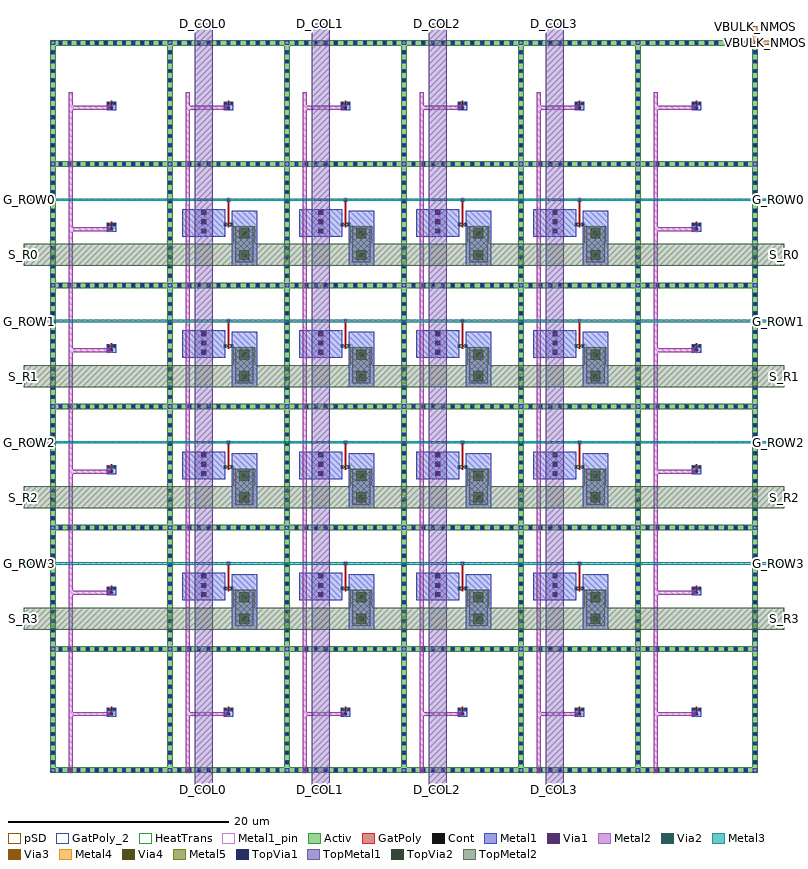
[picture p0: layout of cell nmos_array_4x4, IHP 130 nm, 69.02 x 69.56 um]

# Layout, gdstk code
import gdstk
lib = gdstk.Library(unit=1e-6, precision=1e-09)
def R(c, l, rs):  # rectangles x0, y0, x1, y1
    for r in rs: c.add(gdstk.rectangle(r[:2], r[2:], *l))
def A(c, l, x, y, w, h, nx, ny, dx, dy):  # array of equal rectangles
    R(c, l, [(x+i*dx, y+j*dy, x+i*dx+w, y+j*dy+h) for i in range(nx) for j in range(ny)])
Activ = (1, 0)
GatPoly = (5, 0)
GatPoly_2 = (5, 2)
Cont = (6, 0)
Metal1 = (8, 0)
Metal1_pin = (8, 2)
Metal2 = (10, 0)
pSD = (14, 0)
Via1 = (19, 0)
Via2 = (29, 0)
Metal3 = (30, 0)
Via3 = (49, 0)
Metal4 = (50, 0)
HeatTrans = (51, 0)
Via4 = (66, 0)
Metal5 = (67, 0)
TopVia1 = (125, 0)
TopMetal1 = (126, 0)
TopVia2 = (133, 0)
TopMetal2 = (134, 0)

nmos = lib.new_cell('nmos')
R(nmos, Activ, [(0,0,0.3,0.3), (0.57,0,0.87,0.3), (0,0.075,0.87,0.225)])
R(nmos, GatPoly, [(0.37,-0.105,0.5,0.405)])
R(nmos, GatPoly_2, [(0.37,-0.105,0.5,0.405)])
R(nmos, Cont, [(0.07,0.07,0.23,0.23), (0.64,0.07,0.8,0.23)])
R(nmos, Metal1, [(0.07,0.02,0.23,0.28), (0.64,0.02,0.8,0.28)])
R(nmos, Metal1_pin, [(0.07,0.02,0.23,0.28), (0.64,0.02,0.8,0.28)])
R(nmos, HeatTrans, [(0.37,-0.105,0.5,0.405)])
nmos.add(gdstk.Label('nmos', (0.435,0.15), layer=63, texttype=0))
nmos.add(gdstk.Label('nmos', (0.435,0.15), layer=51, texttype=0))

nmos_array_4x4 = lib.new_cell('nmos_array_4x4')
A(nmos_array_4x4, Activ, 0, 0, 0.5, 66.56, 7, 1, 10.63, 0)
A(nmos_array_4x4, Activ, 0, 0, 64.28, 0.5, 1, 7, 0, 11.01)
A(nmos_array_4x4, GatPoly, 5.5, 5.355, 0.13, 0.2, 6, 2, 10.63, 55.05)
A(nmos_array_4x4, GatPoly, 5.5, 16.365, 0.13, 0.2, 1, 4, 0, 11.01)
A(nmos_array_4x4, GatPoly, 58.65, 16.365, 0.13, 0.2, 1, 4, 0, 11.01)
A(nmos_array_4x4, GatPoly, 16.13, 17.02, 0.13, 2, 4, 4, 10.63, 11.01)
A(nmos_array_4x4, Cont, 0.825, 0.14, 0.22, 0.22, 6, 7, 0.826, 11.01)
A(nmos_array_4x4, Cont, 5.78, 0.14, 0.22, 0.22, 6, 7, 0.826, 11.01)
A(nmos_array_4x4, Cont, 11.63, 0.14, 0.22, 0.22, 11, 7, 0.891, 11.01)
A(nmos_array_4x4, Cont, 22.26, 0.14, 0.22, 0.22, 11, 7, 0.891, 11.01)
A(nmos_array_4x4, Cont, 32.89, 0.14, 0.22, 0.22, 11, 7, 0.891, 11.01)
A(nmos_array_4x4, Cont, 43.52, 0.14, 0.22, 0.22, 11, 7, 0.891, 11.01)
A(nmos_array_4x4, Cont, 54.15, 0.14, 0.22, 0.22, 11, 7, 0.891, 11.01)
A(nmos_array_4x4, Cont, 0.14, 0.857, 0.22, 0.22, 7, 2, 10.63, 0.858)
A(nmos_array_4x4, Cont, 0.14, 2.572, 0.22, 0.22, 7, 2, 10.63, 0.858)
A(nmos_array_4x4, Cont, 0.14, 4.287, 0.22, 0.22, 7, 2, 10.63, 0.858)
A(nmos_array_4x4, Cont, 5.455, 5.245, 0.22, 0.22, 6, 2, 10.63, 55.05)
A(nmos_array_4x4, Cont, 0.14, 6.002, 0.22, 0.22, 7, 2, 10.63, 0.858)
A(nmos_array_4x4, Cont, 0.14, 7.717, 0.22, 0.22, 7, 2, 10.63, 0.858)
A(nmos_array_4x4, Cont, 0.14, 9.432, 0.22, 0.22, 7, 2, 10.63, 0.858)
A(nmos_array_4x4, Cont, 0.14, 12.01, 0.22, 0.22, 7, 2, 10.63, 0.844)
A(nmos_array_4x4, Cont, 0.14, 13.699, 0.22, 0.22, 7, 2, 10.63, 0.844)
A(nmos_array_4x4, Cont, 0.14, 15.388, 0.22, 0.22, 7, 2, 10.63, 0.844)
A(nmos_array_4x4, Cont, 5.455, 16.255, 0.22, 0.22, 1, 4, 0, 11.01)
A(nmos_array_4x4, Cont, 58.605, 16.255, 0.22, 0.22, 1, 4, 0, 11.01)
A(nmos_array_4x4, Cont, 0.14, 17.077, 0.22, 0.22, 7, 2, 10.63, 0.844)
A(nmos_array_4x4, Cont, 0.14, 18.766, 0.22, 0.22, 7, 2, 10.63, 0.844)
A(nmos_array_4x4, Cont, 16.085, 18.91, 0.22, 0.22, 4, 4, 10.63, 11.01)
A(nmos_array_4x4, Cont, 0.14, 20.455, 0.22, 0.22, 7, 2, 10.63, 0.845)
A(nmos_array_4x4, Cont, 0.14, 23.02, 0.22, 0.22, 7, 2, 10.63, 0.844)
A(nmos_array_4x4, Cont, 0.14, 24.709, 0.22, 0.22, 7, 2, 10.63, 0.844)
A(nmos_array_4x4, Cont, 0.14, 26.398, 0.22, 0.22, 7, 2, 10.63, 0.844)
A(nmos_array_4x4, Cont, 0.14, 28.087, 0.22, 0.22, 7, 2, 10.63, 0.844)
A(nmos_array_4x4, Cont, 0.14, 29.776, 0.22, 0.22, 7, 2, 10.63, 0.844)
A(nmos_array_4x4, Cont, 0.14, 31.465, 0.22, 0.22, 7, 2, 10.63, 0.845)
A(nmos_array_4x4, Cont, 0.14, 34.03, 0.22, 0.22, 7, 2, 10.63, 0.844)
A(nmos_array_4x4, Cont, 0.14, 35.719, 0.22, 0.22, 7, 2, 10.63, 0.844)
A(nmos_array_4x4, Cont, 0.14, 37.408, 0.22, 0.22, 7, 2, 10.63, 0.844)
A(nmos_array_4x4, Cont, 0.14, 39.097, 0.22, 0.22, 7, 2, 10.63, 0.844)
A(nmos_array_4x4, Cont, 0.14, 40.786, 0.22, 0.22, 7, 2, 10.63, 0.844)
A(nmos_array_4x4, Cont, 0.14, 42.475, 0.22, 0.22, 7, 2, 10.63, 0.845)
A(nmos_array_4x4, Cont, 0.14, 45.04, 0.22, 0.22, 7, 2, 10.63, 0.844)
A(nmos_array_4x4, Cont, 0.14, 46.729, 0.22, 0.22, 7, 2, 10.63, 0.844)
A(nmos_array_4x4, Cont, 0.14, 48.418, 0.22, 0.22, 7, 2, 10.63, 0.844)
A(nmos_array_4x4, Cont, 0.14, 50.107, 0.22, 0.22, 7, 2, 10.63, 0.844)
A(nmos_array_4x4, Cont, 0.14, 51.796, 0.22, 0.22, 7, 2, 10.63, 0.844)
A(nmos_array_4x4, Cont, 0.14, 53.485, 0.22, 0.22, 7, 2, 10.63, 0.845)
A(nmos_array_4x4, Cont, 0.14, 56.05, 0.22, 0.22, 7, 2, 10.63, 0.844)
A(nmos_array_4x4, Cont, 0.14, 57.739, 0.22, 0.22, 7, 2, 10.63, 0.844)
A(nmos_array_4x4, Cont, 0.14, 59.428, 0.22, 0.22, 7, 2, 10.63, 0.844)
A(nmos_array_4x4, Cont, 0.14, 61.117, 0.22, 0.22, 7, 2, 10.63, 0.844)
A(nmos_array_4x4, Cont, 0.14, 62.806, 0.22, 0.22, 7, 2, 10.63, 0.844)
A(nmos_array_4x4, Cont, 0.14, 64.495, 0.22, 0.22, 7, 2, 10.63, 0.845)
A(nmos_array_4x4, Metal1, 0.765, 0.08, 0.34, 0.34, 6, 7, 0.826, 11.01)
A(nmos_array_4x4, Metal1, 5.72, 0.08, 0.34, 0.34, 6, 7, 0.826, 11.01)
A(nmos_array_4x4, Metal1, 11.57, 0.08, 0.34, 0.34, 11, 7, 0.891, 11.01)
A(nmos_array_4x4, Metal1, 22.2, 0.08, 0.34, 0.34, 11, 7, 0.891, 11.01)
A(nmos_array_4x4, Metal1, 32.83, 0.08, 0.34, 0.34, 11, 7, 0.891, 11.01)
A(nmos_array_4x4, Metal1, 43.46, 0.08, 0.34, 0.34, 11, 7, 0.891, 11.01)
A(nmos_array_4x4, Metal1, 54.09, 0.08, 0.34, 0.34, 11, 7, 0.891, 11.01)
A(nmos_array_4x4, Metal1, 0.08, 0.797, 0.34, 0.34, 7, 2, 10.63, 0.858)
A(nmos_array_4x4, Metal1, 0.08, 2.512, 0.34, 0.34, 7, 2, 10.63, 0.858)
A(nmos_array_4x4, Metal1, 0.08, 4.227, 0.34, 0.34, 7, 2, 10.63, 0.858)
A(nmos_array_4x4, Metal1, 5.14, 5.115, 0.85, 0.58, 6, 2, 10.63, 55.05)
A(nmos_array_4x4, Metal1, 5.395, 5.185, 0.34, 0.34, 6, 2, 10.63, 55.05)
A(nmos_array_4x4, Metal1, 5.14, 5.215, 0.28, 0.68, 1, 6, 0, 11.01)
A(nmos_array_4x4, Metal1, 5.71, 5.215, 0.28, 0.68, 1, 6, 0, 11.01)
A(nmos_array_4x4, Metal1, 58.29, 5.215, 0.28, 0.68, 1, 6, 0, 11.01)
A(nmos_array_4x4, Metal1, 58.86, 5.215, 0.28, 0.68, 1, 6, 0, 11.01)
A(nmos_array_4x4, Metal1, 0.08, 5.942, 0.34, 0.34, 7, 2, 10.63, 0.858)
A(nmos_array_4x4, Metal1, 0.08, 7.657, 0.34, 0.34, 7, 2, 10.63, 0.858)
A(nmos_array_4x4, Metal1, 0.08, 9.372, 0.34, 0.34, 7, 2, 10.63, 0.858)
A(nmos_array_4x4, Metal1, 0.05, 11.06, 0.4, 0.4, 7, 6, 10.63, 11.01)
A(nmos_array_4x4, Metal1, 0.08, 11.95, 0.34, 0.34, 7, 2, 10.63, 0.844)
A(nmos_array_4x4, Metal1, 16.48, 13.01, 2.32, 5.02, 4, 4, 10.63, 11.01)
A(nmos_array_4x4, Metal1, 0.08, 13.639, 0.34, 0.34, 7, 2, 10.63, 0.844)
A(nmos_array_4x4, Metal1, 0.08, 15.328, 0.34, 0.34, 7, 2, 10.63, 0.844)
A(nmos_array_4x4, Metal1, 11.99, 15.671, 3.92, 2.499, 4, 4, 10.63, 11.01)
A(nmos_array_4x4, Metal1, 5.14, 16.125, 0.85, 0.58, 1, 4, 0, 11.01)
A(nmos_array_4x4, Metal1, 58.29, 16.125, 0.85, 0.58, 1, 4, 0, 11.01)
A(nmos_array_4x4, Metal1, 5.395, 16.195, 0.34, 0.34, 1, 4, 0, 11.01)
A(nmos_array_4x4, Metal1, 58.545, 16.195, 0.34, 0.34, 1, 4, 0, 11.01)
A(nmos_array_4x4, Metal1, 0.08, 17.017, 0.34, 0.34, 7, 2, 10.63, 0.844)
A(nmos_array_4x4, Metal1, 0.08, 18.706, 0.34, 0.34, 7, 2, 10.63, 0.844)
A(nmos_array_4x4, Metal1, 16.035, 18.86, 0.32, 0.32, 4, 4, 10.63, 11.01)
A(nmos_array_4x4, Metal1, 0.08, 20.395, 0.34, 0.34, 7, 2, 10.63, 0.845)
A(nmos_array_4x4, Metal1, 0.08, 22.96, 0.34, 0.34, 7, 2, 10.63, 0.844)
A(nmos_array_4x4, Metal1, 0.08, 24.649, 0.34, 0.34, 7, 2, 10.63, 0.844)
A(nmos_array_4x4, Metal1, 0.08, 26.338, 0.34, 0.34, 7, 2, 10.63, 0.844)
A(nmos_array_4x4, Metal1, 0.08, 28.027, 0.34, 0.34, 7, 2, 10.63, 0.844)
A(nmos_array_4x4, Metal1, 0.08, 29.716, 0.34, 0.34, 7, 2, 10.63, 0.844)
A(nmos_array_4x4, Metal1, 0.08, 31.405, 0.34, 0.34, 7, 2, 10.63, 0.845)
A(nmos_array_4x4, Metal1, 0.08, 33.97, 0.34, 0.34, 7, 2, 10.63, 0.844)
A(nmos_array_4x4, Metal1, 0.08, 35.659, 0.34, 0.34, 7, 2, 10.63, 0.844)
A(nmos_array_4x4, Metal1, 0.08, 37.348, 0.34, 0.34, 7, 2, 10.63, 0.844)
A(nmos_array_4x4, Metal1, 0.08, 39.037, 0.34, 0.34, 7, 2, 10.63, 0.844)
A(nmos_array_4x4, Metal1, 0.08, 40.726, 0.34, 0.34, 7, 2, 10.63, 0.844)
A(nmos_array_4x4, Metal1, 0.08, 42.415, 0.34, 0.34, 7, 2, 10.63, 0.845)
A(nmos_array_4x4, Metal1, 0.08, 44.98, 0.34, 0.34, 7, 2, 10.63, 0.844)
A(nmos_array_4x4, Metal1, 0.08, 46.669, 0.34, 0.34, 7, 2, 10.63, 0.844)
A(nmos_array_4x4, Metal1, 0.08, 48.358, 0.34, 0.34, 7, 2, 10.63, 0.844)
A(nmos_array_4x4, Metal1, 0.08, 50.047, 0.34, 0.34, 7, 2, 10.63, 0.844)
A(nmos_array_4x4, Metal1, 0.08, 51.736, 0.34, 0.34, 7, 2, 10.63, 0.844)
A(nmos_array_4x4, Metal1, 0.08, 53.425, 0.34, 0.34, 7, 2, 10.63, 0.845)
A(nmos_array_4x4, Metal1, 0.08, 55.99, 0.34, 0.34, 7, 2, 10.63, 0.844)
A(nmos_array_4x4, Metal1, 0.08, 57.679, 0.34, 0.34, 7, 2, 10.63, 0.844)
A(nmos_array_4x4, Metal1, 0.08, 59.368, 0.34, 0.34, 7, 2, 10.63, 0.844)
A(nmos_array_4x4, Metal1, 0.08, 61.057, 0.34, 0.34, 7, 2, 10.63, 0.844)
A(nmos_array_4x4, Metal1, 0.08, 62.746, 0.34, 0.34, 7, 2, 10.63, 0.844)
A(nmos_array_4x4, Metal1, 0.08, 64.435, 0.34, 0.34, 7, 2, 10.63, 0.845)
R(nmos_array_4x4, Metal1, [(0.05,0.05,0.45,0.45), (1.665,0.05,2.065,0.45), (10.68,0.05,11.08,0.45), (12.295,0.05,12.695,0.45), (21.31,0.05,21.71,0.45), (22.925,0.05,23.325,0.45), (31.94,0.05,32.34,0.45), (33.555,0.05,33.955,0.45), (42.57,0.05,42.97,0.45), (44.185,0.05,44.585,0.45), (53.2,0.05,53.6,0.45), (54.815,0.05,55.215,0.45), (63.83,0.05,64.23,0.45), (15.77,5.215,16.05,5.895), (16.34,5.215,16.62,5.895), (26.4,5.215,26.68,5.895), (26.97,5.215,27.25,5.895), (37.03,5.215,37.31,5.895), (37.6,5.215,37.88,5.895), (47.66,5.215,47.94,5.895), (48.23,5.215,48.51,5.895), (15.77,60.265,16.05,60.945), (16.34,60.265,16.62,60.945), (26.4,60.265,26.68,60.945), (26.97,60.265,27.25,60.945), (37.03,60.265,37.31,60.945), (37.6,60.265,37.88,60.945), (47.66,60.265,47.94,60.945), (48.23,60.265,48.51,60.945)])
A(nmos_array_4x4, Metal2, 1.685, 0.07, 0.36, 61.735, 6, 1, 10.63, 0)
A(nmos_array_4x4, Metal2, 1.685, 5.175, 3.775, 0.36, 6, 2, 10.63, 55.05)
A(nmos_array_4x4, Metal2, 17.485, 13.855, 0.31, 0.31, 4, 2, 10.63, 1.96)
A(nmos_array_4x4, Metal2, 13.795, 16.035, 0.31, 0.31, 4, 3, 10.63, 0.84)
A(nmos_array_4x4, Metal2, 1.685, 16.185, 3.775, 0.36, 1, 4, 0, 11.01)
A(nmos_array_4x4, Metal2, 54.835, 16.185, 3.775, 0.36, 1, 4, 0, 11.01)
A(nmos_array_4x4, Metal2, 16.05, 18.875, 0.29, 0.29, 4, 4, 10.63, 11.01)
A(nmos_array_4x4, Metal2, 17.485, 24.865, 0.31, 0.31, 4, 2, 10.63, 1.96)
A(nmos_array_4x4, Metal2, 13.795, 27.045, 0.31, 0.31, 4, 3, 10.63, 0.84)
A(nmos_array_4x4, Metal2, 17.485, 35.875, 0.31, 0.31, 4, 2, 10.63, 1.96)
A(nmos_array_4x4, Metal2, 13.795, 38.055, 0.31, 0.31, 4, 3, 10.63, 0.84)
A(nmos_array_4x4, Metal2, 17.485, 46.885, 0.31, 0.31, 4, 2, 10.63, 1.96)
A(nmos_array_4x4, Metal2, 13.795, 49.065, 0.31, 0.31, 4, 3, 10.63, 0.84)
R(nmos_array_4x4, Metal2, [(63.85,66.13,64.21,66.49)])
A(nmos_array_4x4, pSD, 0, 0, 0.5, 66.56, 7, 1, 10.63, 0)
A(nmos_array_4x4, pSD, 0, 0, 64.28, 0.5, 1, 7, 0, 11.01)
A(nmos_array_4x4, Via1, 1.77, 0.155, 0.19, 0.19, 6, 1, 10.63, 0)
A(nmos_array_4x4, Via1, 5.185, 5.26, 0.19, 0.19, 6, 2, 10.63, 55.05)
A(nmos_array_4x4, Via1, 17.545, 13.915, 0.19, 0.19, 4, 2, 10.63, 1.96)
A(nmos_array_4x4, Via1, 13.855, 16.095, 0.19, 0.19, 4, 3, 10.63, 0.84)
A(nmos_array_4x4, Via1, 5.185, 16.27, 0.19, 0.19, 1, 4, 0, 11.01)
A(nmos_array_4x4, Via1, 58.335, 16.27, 0.19, 0.19, 1, 4, 0, 11.01)
A(nmos_array_4x4, Via1, 16.1, 18.925, 0.19, 0.19, 4, 4, 10.63, 11.01)
A(nmos_array_4x4, Via1, 17.545, 24.925, 0.19, 0.19, 4, 2, 10.63, 1.96)
A(nmos_array_4x4, Via1, 13.855, 27.105, 0.19, 0.19, 4, 3, 10.63, 0.84)
A(nmos_array_4x4, Via1, 17.545, 35.935, 0.19, 0.19, 4, 2, 10.63, 1.96)
A(nmos_array_4x4, Via1, 13.855, 38.115, 0.19, 0.19, 4, 3, 10.63, 0.84)
A(nmos_array_4x4, Via1, 17.545, 46.945, 0.19, 0.19, 4, 2, 10.63, 1.96)
A(nmos_array_4x4, Via1, 13.855, 49.125, 0.19, 0.19, 4, 3, 10.63, 0.84)
R(nmos_array_4x4, Via1, [(63.935,66.215,64.125,66.405)])
A(nmos_array_4x4, Via2, 17.545, 13.915, 0.19, 0.19, 4, 2, 10.63, 1.96)
A(nmos_array_4x4, Via2, 13.855, 16.095, 0.19, 0.19, 4, 3, 10.63, 0.84)
A(nmos_array_4x4, Via2, 16.1, 18.925, 0.19, 0.19, 4, 4, 10.63, 11.01)
A(nmos_array_4x4, Via2, 17.545, 24.925, 0.19, 0.19, 4, 2, 10.63, 1.96)
A(nmos_array_4x4, Via2, 13.855, 27.105, 0.19, 0.19, 4, 3, 10.63, 0.84)
A(nmos_array_4x4, Via2, 17.545, 35.935, 0.19, 0.19, 4, 2, 10.63, 1.96)
A(nmos_array_4x4, Via2, 13.855, 38.115, 0.19, 0.19, 4, 3, 10.63, 0.84)
A(nmos_array_4x4, Via2, 17.545, 46.945, 0.19, 0.19, 4, 2, 10.63, 1.96)
A(nmos_array_4x4, Via2, 13.855, 49.125, 0.19, 0.19, 4, 3, 10.63, 0.84)
R(nmos_array_4x4, Via2, [(63.935,66.215,64.125,66.405)])
A(nmos_array_4x4, Metal3, 17.485, 13.855, 0.31, 0.31, 4, 2, 10.63, 1.96)
A(nmos_array_4x4, Metal3, 13.795, 16.035, 0.31, 0.31, 4, 3, 10.63, 0.84)
A(nmos_array_4x4, Metal3, -1.97, 18.92, 68.22, 0.2, 1, 4, 0, 11.01)
A(nmos_array_4x4, Metal3, 16.095, 18.92, 0.2, 0.2, 4, 4, 10.63, 11.01)
A(nmos_array_4x4, Metal3, 17.485, 24.865, 0.31, 0.31, 4, 2, 10.63, 1.96)
A(nmos_array_4x4, Metal3, 13.795, 27.045, 0.31, 0.31, 4, 3, 10.63, 0.84)
A(nmos_array_4x4, Metal3, 17.485, 35.875, 0.31, 0.31, 4, 2, 10.63, 1.96)
A(nmos_array_4x4, Metal3, 13.795, 38.055, 0.31, 0.31, 4, 3, 10.63, 0.84)
A(nmos_array_4x4, Metal3, 17.485, 46.885, 0.31, 0.31, 4, 2, 10.63, 1.96)
A(nmos_array_4x4, Metal3, 13.795, 49.065, 0.31, 0.31, 4, 3, 10.63, 0.84)
R(nmos_array_4x4, Metal3, [(63.93,66.21,64.13,66.41)])
A(nmos_array_4x4, Via3, 17.545, 13.915, 0.19, 0.19, 4, 2, 10.63, 1.96)
A(nmos_array_4x4, Via3, 13.855, 16.095, 0.19, 0.19, 4, 3, 10.63, 0.84)
A(nmos_array_4x4, Via3, 17.545, 24.925, 0.19, 0.19, 4, 2, 10.63, 1.96)
A(nmos_array_4x4, Via3, 13.855, 27.105, 0.19, 0.19, 4, 3, 10.63, 0.84)
A(nmos_array_4x4, Via3, 17.545, 35.935, 0.19, 0.19, 4, 2, 10.63, 1.96)
A(nmos_array_4x4, Via3, 13.855, 38.115, 0.19, 0.19, 4, 3, 10.63, 0.84)
A(nmos_array_4x4, Via3, 17.545, 46.945, 0.19, 0.19, 4, 2, 10.63, 1.96)
A(nmos_array_4x4, Via3, 13.855, 49.125, 0.19, 0.19, 4, 3, 10.63, 0.84)
R(nmos_array_4x4, Via3, [(63.935,66.215,64.125,66.405)])
A(nmos_array_4x4, Metal4, 17.485, 13.855, 0.31, 0.31, 4, 2, 10.63, 1.96)
A(nmos_array_4x4, Metal4, 13.795, 16.035, 0.31, 0.31, 4, 3, 10.63, 0.84)
A(nmos_array_4x4, Metal4, 17.485, 24.865, 0.31, 0.31, 4, 2, 10.63, 1.96)
A(nmos_array_4x4, Metal4, 13.795, 27.045, 0.31, 0.31, 4, 3, 10.63, 0.84)
A(nmos_array_4x4, Metal4, 17.485, 35.875, 0.31, 0.31, 4, 2, 10.63, 1.96)
A(nmos_array_4x4, Metal4, 13.795, 38.055, 0.31, 0.31, 4, 3, 10.63, 0.84)
A(nmos_array_4x4, Metal4, 17.485, 46.885, 0.31, 0.31, 4, 2, 10.63, 1.96)
A(nmos_array_4x4, Metal4, 13.795, 49.065, 0.31, 0.31, 4, 3, 10.63, 0.84)
R(nmos_array_4x4, Metal4, [(63.83,66.11,65.53,66.51), (63.83,66.11,64.23,67.81)])
A(nmos_array_4x4, Via4, 17.545, 13.915, 0.19, 0.19, 4, 2, 10.63, 1.96)
A(nmos_array_4x4, Via4, 13.855, 16.095, 0.19, 0.19, 4, 3, 10.63, 0.84)
A(nmos_array_4x4, Via4, 17.545, 24.925, 0.19, 0.19, 4, 2, 10.63, 1.96)
A(nmos_array_4x4, Via4, 13.855, 27.105, 0.19, 0.19, 4, 3, 10.63, 0.84)
A(nmos_array_4x4, Via4, 17.545, 35.935, 0.19, 0.19, 4, 2, 10.63, 1.96)
A(nmos_array_4x4, Via4, 13.855, 38.115, 0.19, 0.19, 4, 3, 10.63, 0.84)
A(nmos_array_4x4, Via4, 17.545, 46.945, 0.19, 0.19, 4, 2, 10.63, 1.96)
A(nmos_array_4x4, Via4, 13.855, 49.125, 0.19, 0.19, 4, 3, 10.63, 0.84)
A(nmos_array_4x4, Metal5, 17.485, 13.855, 0.31, 0.31, 4, 2, 10.63, 1.96)
A(nmos_array_4x4, Metal5, 13.795, 16.035, 0.31, 0.31, 4, 3, 10.63, 0.84)
A(nmos_array_4x4, Metal5, 17.485, 24.865, 0.31, 0.31, 4, 2, 10.63, 1.96)
A(nmos_array_4x4, Metal5, 13.795, 27.045, 0.31, 0.31, 4, 3, 10.63, 0.84)
A(nmos_array_4x4, Metal5, 17.485, 35.875, 0.31, 0.31, 4, 2, 10.63, 1.96)
A(nmos_array_4x4, Metal5, 13.795, 38.055, 0.31, 0.31, 4, 3, 10.63, 0.84)
A(nmos_array_4x4, Metal5, 17.485, 46.885, 0.31, 0.31, 4, 2, 10.63, 1.96)
A(nmos_array_4x4, Metal5, 13.795, 49.065, 0.31, 0.31, 4, 3, 10.63, 0.84)
A(nmos_array_4x4, TopVia1, 17.43, 13.8, 0.42, 0.42, 4, 2, 10.63, 1.96)
A(nmos_array_4x4, TopVia1, 13.74, 15.98, 0.42, 0.42, 4, 3, 10.63, 0.84)
A(nmos_array_4x4, TopVia1, 17.43, 24.81, 0.42, 0.42, 4, 2, 10.63, 1.96)
A(nmos_array_4x4, TopVia1, 13.74, 26.99, 0.42, 0.42, 4, 3, 10.63, 0.84)
A(nmos_array_4x4, TopVia1, 17.43, 35.82, 0.42, 0.42, 4, 2, 10.63, 1.96)
A(nmos_array_4x4, TopVia1, 13.74, 38, 0.42, 0.42, 4, 3, 10.63, 0.84)
A(nmos_array_4x4, TopVia1, 17.43, 46.83, 0.42, 0.42, 4, 2, 10.63, 1.96)
A(nmos_array_4x4, TopVia1, 13.74, 49.01, 0.42, 0.42, 4, 3, 10.63, 0.84)
A(nmos_array_4x4, TopMetal1, 13.126, -1.5, 1.648, 69.56, 4, 1, 10.63, 0)
A(nmos_array_4x4, TopMetal1, 16.816, 13.36, 1.648, 3.26, 4, 4, 10.63, 11.01)
A(nmos_array_4x4, TopMetal1, 13.126, 15.88, 1.648, 2.3, 4, 4, 10.63, 11.01)
A(nmos_array_4x4, TopVia2, 17.19, 13.56, 0.9, 0.9, 4, 2, 10.63, 1.96)
A(nmos_array_4x4, TopVia2, 17.19, 24.57, 0.9, 0.9, 4, 2, 10.63, 1.96)
A(nmos_array_4x4, TopVia2, 17.19, 35.58, 0.9, 0.9, 4, 2, 10.63, 1.96)
A(nmos_array_4x4, TopVia2, 17.19, 46.59, 0.9, 0.9, 4, 2, 10.63, 1.96)
A(nmos_array_4x4, TopMetal2, -2.37, 13.01, 69.02, 2, 1, 4, 0, 11.01)
A(nmos_array_4x4, TopMetal2, 16.64, 13.36, 2, 3.26, 4, 4, 10.63, 11.01)
nmos_array_4x4.add(gdstk.Reference(nmos, (5.13,5.605)))
nmos_array_4x4.add(gdstk.Reference(nmos, (15.76,5.605)))
nmos_array_4x4.add(gdstk.Reference(nmos, (26.39,5.605)))
nmos_array_4x4.add(gdstk.Reference(nmos, (37.02,5.605)))
nmos_array_4x4.add(gdstk.Reference(nmos, (47.65,5.605)))
nmos_array_4x4.add(gdstk.Reference(nmos, (58.28,5.605)))
nmos_array_4x4.add(gdstk.Reference(nmos, (5.13,16.615)))
nmos_array_4x4.add(gdstk.Reference(nmos, (15.76,16.615)))
nmos_array_4x4.add(gdstk.Reference(nmos, (26.39,16.615)))
nmos_array_4x4.add(gdstk.Reference(nmos, (37.02,16.615)))
nmos_array_4x4.add(gdstk.Reference(nmos, (47.65,16.615)))
nmos_array_4x4.add(gdstk.Reference(nmos, (58.28,16.615)))
nmos_array_4x4.add(gdstk.Reference(nmos, (5.13,27.625)))
nmos_array_4x4.add(gdstk.Reference(nmos, (15.76,27.625)))
nmos_array_4x4.add(gdstk.Reference(nmos, (26.39,27.625)))
nmos_array_4x4.add(gdstk.Reference(nmos, (37.02,27.625)))
nmos_array_4x4.add(gdstk.Reference(nmos, (47.65,27.625)))
nmos_array_4x4.add(gdstk.Reference(nmos, (58.28,27.625)))
nmos_array_4x4.add(gdstk.Reference(nmos, (5.13,38.635)))
nmos_array_4x4.add(gdstk.Reference(nmos, (15.76,38.635)))
nmos_array_4x4.add(gdstk.Reference(nmos, (26.39,38.635)))
nmos_array_4x4.add(gdstk.Reference(nmos, (37.02,38.635)))
nmos_array_4x4.add(gdstk.Reference(nmos, (47.65,38.635)))
nmos_array_4x4.add(gdstk.Reference(nmos, (58.28,38.635)))
nmos_array_4x4.add(gdstk.Reference(nmos, (5.13,49.645)))
nmos_array_4x4.add(gdstk.Reference(nmos, (15.76,49.645)))
nmos_array_4x4.add(gdstk.Reference(nmos, (26.39,49.645)))
nmos_array_4x4.add(gdstk.Reference(nmos, (37.02,49.645)))
nmos_array_4x4.add(gdstk.Reference(nmos, (47.65,49.645)))
nmos_array_4x4.add(gdstk.Reference(nmos, (58.28,49.645)))
nmos_array_4x4.add(gdstk.Reference(nmos, (5.13,60.655)))
nmos_array_4x4.add(gdstk.Reference(nmos, (15.76,60.655)))
nmos_array_4x4.add(gdstk.Reference(nmos, (26.39,60.655)))
nmos_array_4x4.add(gdstk.Reference(nmos, (37.02,60.655)))
nmos_array_4x4.add(gdstk.Reference(nmos, (47.65,60.655)))
nmos_array_4x4.add(gdstk.Reference(nmos, (58.28,60.655)))
nmos_array_4x4.add(gdstk.Label('VBULK_NMOS', (65.53,66.31), layer=63, texttype=0))
nmos_array_4x4.add(gdstk.Label('VBULK_NMOS', (64.03,67.81), layer=63, texttype=0))
nmos_array_4x4.add(gdstk.Label('G_ROW3', (-1.87,19.02), layer=63, texttype=0))
nmos_array_4x4.add(gdstk.Label('G_ROW3', (66.15,19.02), layer=63, texttype=0))
nmos_array_4x4.add(gdstk.Label('G_ROW2', (-1.87,30.03), layer=63, texttype=0))
nmos_array_4x4.add(gdstk.Label('G_ROW2', (66.15,30.03), layer=63, texttype=0))
nmos_array_4x4.add(gdstk.Label('G_ROW1', (-1.87,41.04), layer=63, texttype=0))
nmos_array_4x4.add(gdstk.Label('G_ROW1', (66.15,41.04), layer=63, texttype=0))
nmos_array_4x4.add(gdstk.Label('G_ROW0', (-1.87,52.05), layer=63, texttype=0))
nmos_array_4x4.add(gdstk.Label('G_ROW0', (66.15,52.05), layer=63, texttype=0))
nmos_array_4x4.add(gdstk.Label('D_COL0', (13.95,-1.5), layer=63, texttype=0))
nmos_array_4x4.add(gdstk.Label('D_COL0', (13.95,68.06), layer=63, texttype=0))
nmos_array_4x4.add(gdstk.Label('D_COL1', (24.58,-1.5), layer=63, texttype=0))
nmos_array_4x4.add(gdstk.Label('D_COL1', (24.58,68.06), layer=63, texttype=0))
nmos_array_4x4.add(gdstk.Label('D_COL2', (35.21,-1.5), layer=63, texttype=0))
nmos_array_4x4.add(gdstk.Label('D_COL2', (35.21,68.06), layer=63, texttype=0))
nmos_array_4x4.add(gdstk.Label('D_COL3', (45.84,-1.5), layer=63, texttype=0))
nmos_array_4x4.add(gdstk.Label('D_COL3', (45.84,68.06), layer=63, texttype=0))
nmos_array_4x4.add(gdstk.Label('S_R3', (-2.37,14.01), layer=63, texttype=0))
nmos_array_4x4.add(gdstk.Label('S_R3', (66.65,14.01), layer=63, texttype=0))
nmos_array_4x4.add(gdstk.Label('S_R2', (-2.37,25.02), layer=63, texttype=0))
nmos_array_4x4.add(gdstk.Label('S_R2', (66.65,25.02), layer=63, texttype=0))
nmos_array_4x4.add(gdstk.Label('S_R1', (-2.37,36.03), layer=63, texttype=0))
nmos_array_4x4.add(gdstk.Label('S_R1', (66.65,36.03), layer=63, texttype=0))
nmos_array_4x4.add(gdstk.Label('S_R0', (-2.37,47.04), layer=63, texttype=0))
nmos_array_4x4.add(gdstk.Label('S_R0', (66.65,47.04), layer=63, texttype=0))

lib.write_gds('nmos_array_4x4.gds')
